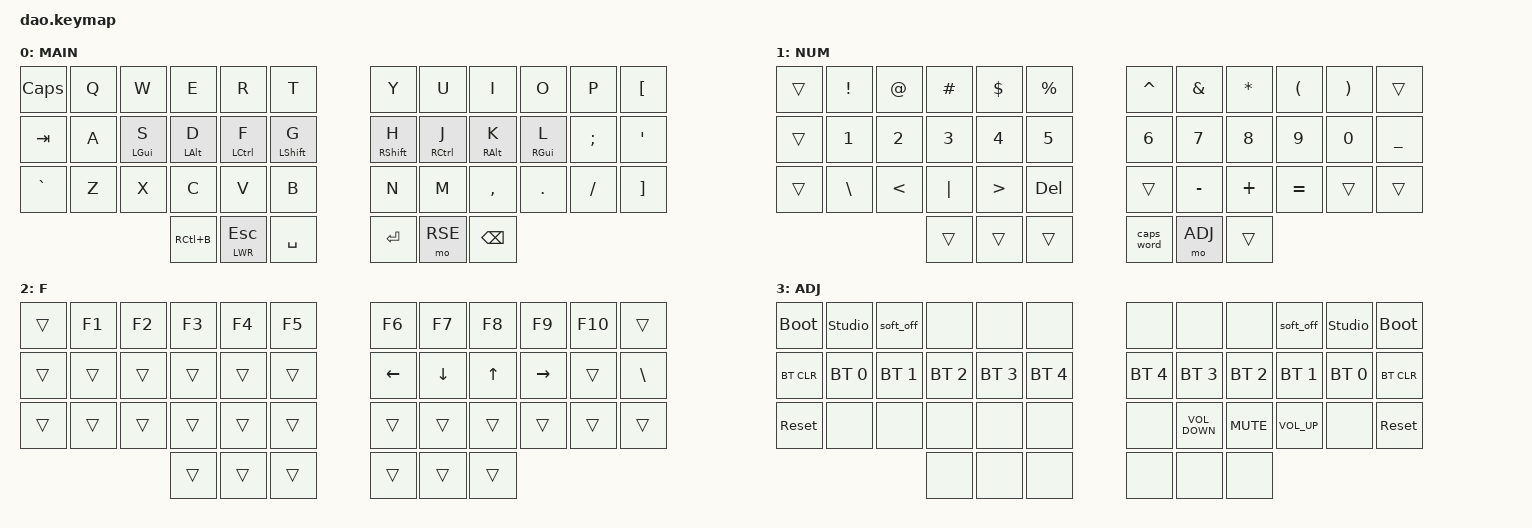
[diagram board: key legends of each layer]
/*
 * Copyright (c) 2021 Rafael Yumagulov
 *
 * SPDX-License-Identifier: MIT
 */

#include <behaviors.dtsi>
#include <dt-bindings/zmk/bt.h>
#include <dt-bindings/zmk/keys.h>

#define DEF 0
#define LWR 1
#define RSE 2
#define ADJ 3

&lt {
    quick_tap_ms = <200>;
    flavor = "hold-preferred";
};

&mt { quick_tap_ms = <200>; };

/ {
    chosen {
        zmk,physical_layout = &dao_crkbd_layout;

        // zmk,physical_layout = &dao_full_layout;
    };
};

/ {
    keymap {
        compatible = "zmk,keymap";

        default_layer {
            display-name = "MAIN";
            bindings = <
&kp CAPS   &kp Q  &kp W       &kp E       &kp R        &kp T        &kp Y        &kp U        &kp I       &kp O       &kp P     &kp LBKT
&kp TAB    &kp A  &mt LGUI S  &mt LALT D  &mt LCTRL F  &mt LSHFT G  &mt RSHFT H  &mt RCTRL J  &mt RALT K  &mt RGUI L  &kp SEMI  &kp SQT
&kp GRAVE  &kp Z  &kp X       &kp C       &kp V        &kp B        &kp N        &kp M        &kp COMMA   &kp DOT     &kp FSLH  &kp RBKT
                              &kp RC(B)   &lt LWR ESC  &kp SPACE    &kp RETURN   &mo RSE      &kp BSPC
            >;
        };

        lower_layer {
            display-name = "NUM";
            bindings = <
&trans  &kp EXCL  &kp AT  &kp HASH  &kp DLLR  &kp PRCNT  &kp CARET   &kp AMPS   &kp ASTRK  &kp LPAR   &kp RPAR  &trans
&trans  &kp N1    &kp N2  &kp N3    &kp N4    &kp N5     &kp N6      &kp N7     &kp N8     &kp N9     &kp N0    &kp UNDERSCORE
&trans  &kp BSLH  &kp LT  &kp PIPE  &kp GT    &kp DEL    &trans      &kp MINUS  &kp PLUS   &kp EQUAL  &trans    &trans
                          &trans    &trans    &trans     &caps_word  &mo ADJ    &trans
            >;
        };

        raise_layer {
            display-name = "F";
            bindings = <
&trans  &kp F1  &kp F2  &kp F3  &kp F4  &kp F5  &kp F6    &kp F7    &kp F8  &kp F9     &kp F10  &trans
&trans  &trans  &trans  &trans  &trans  &trans  &kp LEFT  &kp DOWN  &kp UP  &kp RIGHT  &trans   &kp BSLH
&trans  &trans  &trans  &trans  &trans  &trans  &trans    &trans    &trans  &trans     &trans   &trans
                        &trans  &trans  &trans  &trans    &trans    &trans
            >;
        };

        adjust_layer {
            display-name = "ADJ";
            bindings = <
&bootloader  &studio_unlock  &soft_off     &none         &none         &none         &none         &none              &none         &soft_off        &studio_unlock  &bootloader
&bt BT_CLR   &bt BT_SEL 0    &bt BT_SEL 1  &bt BT_SEL 2  &bt BT_SEL 3  &bt BT_SEL 4  &bt BT_SEL 4  &bt BT_SEL 3       &bt BT_SEL 2  &bt BT_SEL 1     &bt BT_SEL 0    &bt BT_CLR
&sys_reset   &none           &none         &none         &none         &none         &none         &kp K_VOLUME_DOWN  &kp K_MUTE    &kp K_VOLUME_UP  &none           &sys_reset
                                           &none         &none         &none         &none         &none              &none
            >;
        };
    };
};
